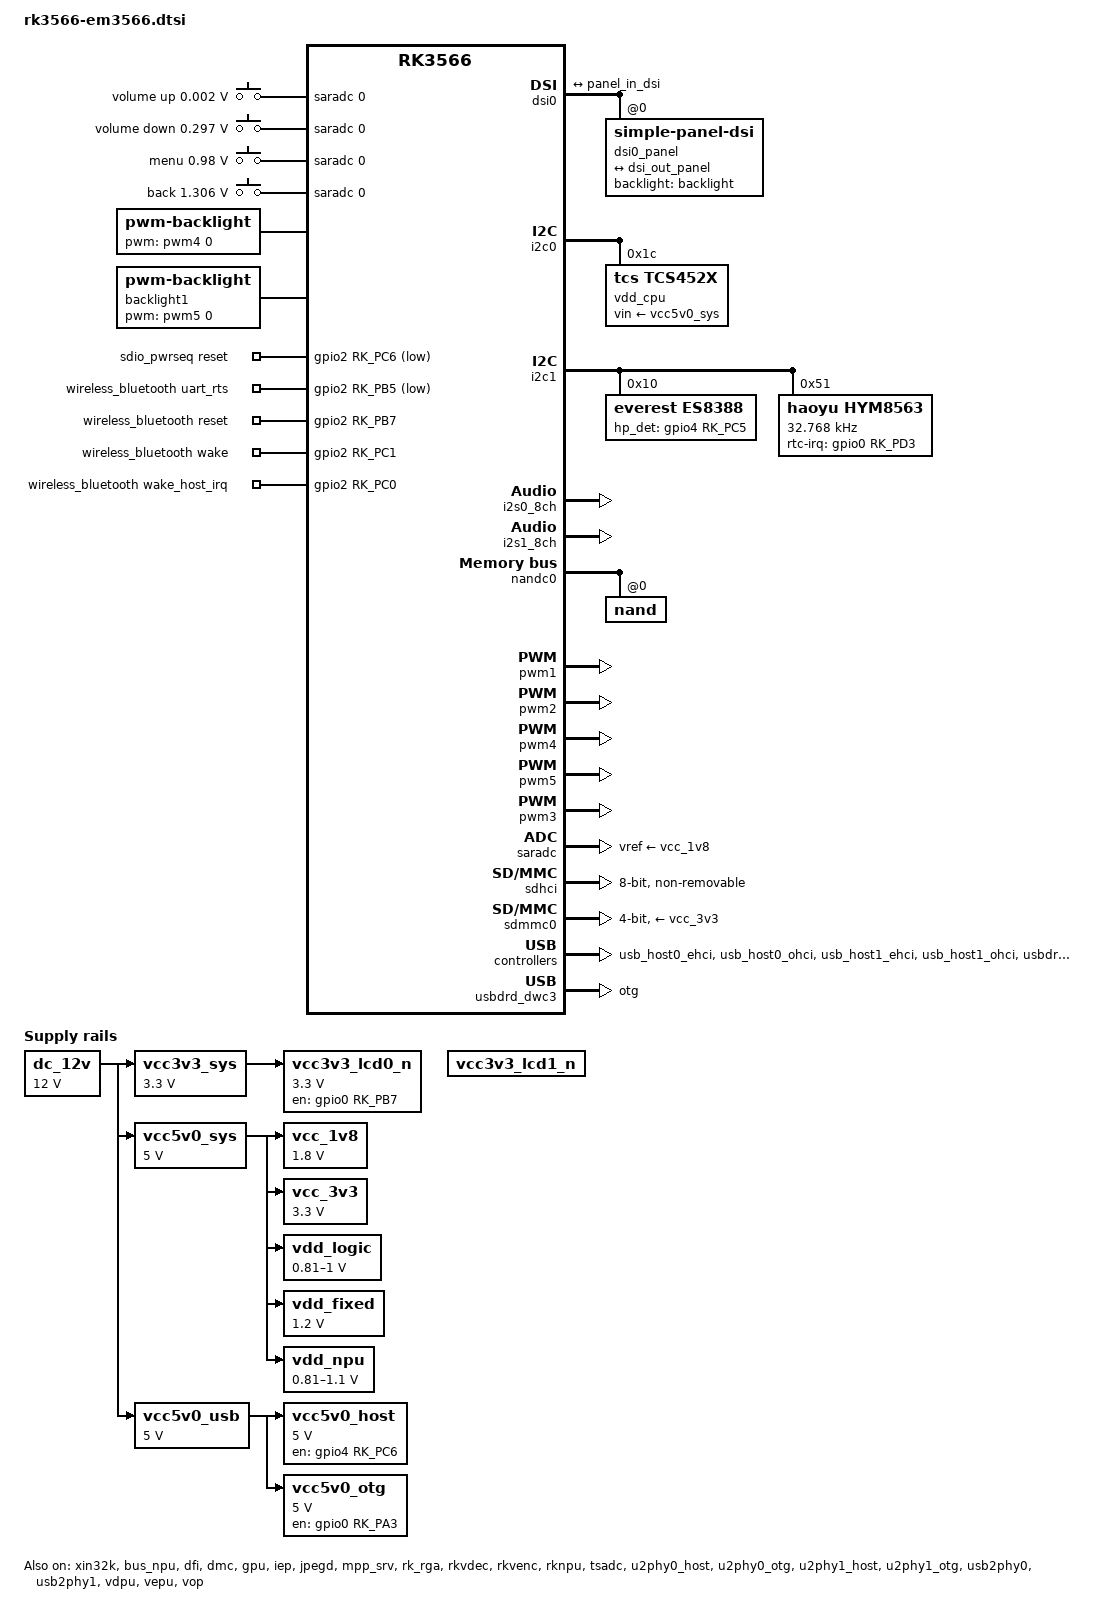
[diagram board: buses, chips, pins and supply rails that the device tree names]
// SPDX-License-Identifier: (GPL-2.0+ OR MIT)
/*
 * Copyright (c) 2020 Rockchip Electronics Co., Ltd.
 *
 */

#include <dt-bindings/gpio/gpio.h>
#include <dt-bindings/pwm/pwm.h>
#include <dt-bindings/pinctrl/rockchip.h>
#include <dt-bindings/input/rk-input.h>
#include <dt-bindings/display/drm_mipi_dsi.h>
#include <dt-bindings/sensor-dev.h>

/ {

	adc_keys: adc-keys {
		compatible = "adc-keys";
		io-channels = <&saradc 0>;
		io-channel-names = "buttons";
		keyup-threshold-microvolt = <1800000>;
		poll-interval = <100>;

		vol-up-key {
			label = "volume up";
			linux,code = <KEY_VOLUMEUP>;
			press-threshold-microvolt = <1750>;
		};

		vol-down-key {
			label = "volume down";
			linux,code = <KEY_VOLUMEDOWN>;
			press-threshold-microvolt = <297500>;
		};

		menu-key {
			label = "menu";
			linux,code = <KEY_MENU>;
			press-threshold-microvolt = <980000>;
		};

		back-key {
			label = "back";
			linux,code = <KEY_BACK>;
			press-threshold-microvolt = <1305500>;
		};
	};

	audiopwmout_diff: audiopwmout-diff {
		status = "disabled";
		compatible = "simple-audio-card";
		simple-audio-card,format = "i2s";
		simple-audio-card,name = "rockchip,audiopwmout-diff";
		simple-audio-card,mclk-fs = <256>;
		simple-audio-card,bitclock-master = <&master>;
		simple-audio-card,frame-master = <&master>;
		simple-audio-card,cpu {
			sound-dai = <&i2s3_2ch>;
		};
		master: simple-audio-card,codec {
			sound-dai = <&dig_acodec>;
		};
	};

	backlight: backlight {
		status = "okay";
		compatible = "pwm-backlight";
		pwms = <&pwm4 0 25000 0>;
		brightness-levels = <
			  0  20  20  21  21  22  22  23
			 23  24  24  25  25  26  26  27
			 27  28  28  29  29  30  30  31
			 31  32  32  33  33  34  34  35
			 35  36  36  37  37  38  38  39
			 40  41  42  43  44  45  46  47
			 48  49  50  51  52  53  54  55
			 56  57  58  59  60  61  62  63
			 64  65  66  67  68  69  70  71
			 72  73  74  75  76  77  78  79
			 80  81  82  83  84  85  86  87
			 88  89  90  91  92  93  94  95
			 96  97  98  99 100 101 102 103
			104 105 106 107 108 109 110 111
			112 113 114 115 116 117 118 119
			120 121 122 123 124 125 126 127
			128 129 130 131 132 133 134 135
			136 137 138 139 140 141 142 143
			144 145 146 147 148 149 150 151
			152 153 154 155 156 157 158 159
			160 161 162 163 164 165 166 167
			168 169 170 171 172 173 174 175
			176 177 178 179 180 181 182 183
			184 185 186 187 188 189 190 191
			192 193 194 195 196 197 198 199
			200 201 202 203 204 205 206 207
			208 209 210 211 212 213 214 215
			216 217 218 219 220 221 222 223
			224 225 226 227 228 229 230 231
			232 233 234 235 236 237 238 239
			240 241 242 243 244 245 246 247
			248 249 250 251 252 253 254 255
		>;
		default-brightness-level = <100>;	//<200>;
	};

	backlight1: backlight1 {
		compatible = "pwm-backlight";
		pwms = <&pwm5 0 25000 0>;
		brightness-levels = <
			  0  20  20  21  21  22  22  23
			 23  24  24  25  25  26  26  27
			 27  28  28  29  29  30  30  31
			 31  32  32  33  33  34  34  35
			 35  36  36  37  37  38  38  39
			 40  41  42  43  44  45  46  47
			 48  49  50  51  52  53  54  55
			 56  57  58  59  60  61  62  63
			 64  65  66  67  68  69  70  71
			 72  73  74  75  76  77  78  79
			 80  81  82  83  84  85  86  87
			 88  89  90  91  92  93  94  95
			 96  97  98  99 100 101 102 103
			104 105 106 107 108 109 110 111
			112 113 114 115 116 117 118 119
			120 121 122 123 124 125 126 127
			128 129 130 131 132 133 134 135
			136 137 138 139 140 141 142 143
			144 145 146 147 148 149 150 151
			152 153 154 155 156 157 158 159
			160 161 162 163 164 165 166 167
			168 169 170 171 172 173 174 175
			176 177 178 179 180 181 182 183
			184 185 186 187 188 189 190 191
			192 193 194 195 196 197 198 199
			200 201 202 203 204 205 206 207
			208 209 210 211 212 213 214 215
			216 217 218 219 220 221 222 223
			224 225 226 227 228 229 230 231
			232 233 234 235 236 237 238 239
			240 241 242 243 244 245 246 247
			248 249 250 251 252 253 254 255
		>;
		default-brightness-level = <200>;
	};

	dc_12v: dc-12v {
		compatible = "regulator-fixed";
		regulator-name = "dc_12v";
		regulator-always-on;
		regulator-boot-on;
		regulator-min-microvolt = <12000000>;
		regulator-max-microvolt = <12000000>;
	};

	hdmi_sound: hdmi-sound {
		compatible = "simple-audio-card";
		simple-audio-card,format = "i2s";
		simple-audio-card,mclk-fs = <128>;
		simple-audio-card,name = "rockchip,hdmi";
		status = "disabled";

		simple-audio-card,cpu {
				sound-dai = <&i2s0_8ch>;
		};
		simple-audio-card,codec {
				sound-dai = <&hdmi>;
		};
	};
	
	pdmics: dummy-codec {
		status = "disabled";
		compatible = "rockchip,dummy-codec";
		#sound-dai-cells = <0>;
	};

	pdm_mic_array: pdm-mic-array {
		status = "disabled";
		compatible = "simple-audio-card";
		simple-audio-card,name = "rockchip,pdm-mic-array";
		simple-audio-card,cpu {
			sound-dai = <&pdm>;
		};
		simple-audio-card,codec {
			sound-dai = <&pdmics>;
		};
	};
	
	es8388_sound: es8388-sound {
		status = "okay";
		compatible = "simple-audio-card";
		simple-audio-card,format = "i2s";
		simple-audio-card,name = "rockchip,es8388-codec";
		simple-audio-card,mclk-fs = <512>;

		simple-audio-card,cpu {
			sound-dai = <&i2s1_8ch>;
		};
		simple-audio-card,codec {
			sound-dai = <&es8388>;
		};					   
	};	

	spdif-sound {
		status = "disabled";	//"okay";
		compatible = "simple-audio-card";
		simple-audio-card,name = "ROCKCHIP,SPDIF";
		simple-audio-card,cpu {
				sound-dai = <&spdif_8ch>;
		};
		simple-audio-card,codec {
				sound-dai = <&spdif_out>;
		};
	};

	spdif_out: spdif-out {
			status = "disabled";	//"okay";
			compatible = "linux,spdif-dit";
			#sound-dai-cells = <0>;
	};

	vad_sound: vad-sound {
		status = "disabled";
		compatible = "rockchip,multicodecs-card";
		rockchip,card-name = "rockchip,rk3568-vad";
		rockchip,cpu = <&i2s1_8ch>;
		rockchip,codec = <&vad>;	//<&rk809_codec>, <&vad>;
	};

	vcc3v3_sys: vcc3v3-sys {
		compatible = "regulator-fixed";
		regulator-name = "vcc3v3_sys";
		regulator-always-on;
		regulator-boot-on;
		regulator-min-microvolt = <3300000>;
		regulator-max-microvolt = <3300000>;
		vin-supply = <&dc_12v>;
	};

	vcc5v0_sys: vcc5v0-sys {
		compatible = "regulator-fixed";
		regulator-name = "vcc5v0_sys";
		regulator-always-on;
		regulator-boot-on;
		regulator-min-microvolt = <5000000>;
		regulator-max-microvolt = <5000000>;
		vin-supply = <&dc_12v>;
	};

	vcc5v0_usb: vcc5v0-usb {
		compatible = "regulator-fixed";
		regulator-name = "vcc5v0_usb";
		regulator-always-on;
		regulator-boot-on;
		regulator-min-microvolt = <5000000>;
		regulator-max-microvolt = <5000000>;
		vin-supply = <&dc_12v>;
	};

	vcc5v0_host: vcc5v0-host-regulator {
		compatible = "regulator-fixed";
		regulator-name = "vcc5v0_host";
		regulator-boot-on;
		regulator-always-on;
		regulator-min-microvolt = <5000000>;
		regulator-max-microvolt = <5000000>;
		enable-active-high;
		gpio = <&gpio4 RK_PC6 GPIO_ACTIVE_HIGH>;	
		vin-supply = <&vcc5v0_usb>;
		pinctrl-names = "default";
		pinctrl-0 = <&vcc5v0_host_en>;
	};	

	vcc5v0_otg: vcc5v0-otg-regulator {
		compatible = "regulator-fixed";
		regulator-name = "vcc5v0_otg";
		regulator-min-microvolt = <5000000>;
		regulator-max-microvolt = <5000000>;
		enable-active-high;
		gpio = <&gpio0 RK_PA3 GPIO_ACTIVE_HIGH>;
		vin-supply = <&vcc5v0_usb>;
		pinctrl-names = "default";
		pinctrl-0 = <&vcc5v0_otg_en>;
	};
	vcc_1v8: vcc_1v8 {
		compatible = "regulator-fixed";
		regulator-name = "vcc_1v8";
		regulator-always-on;
		regulator-boot-on;
		regulator-min-microvolt = <1800000>;
		regulator-max-microvolt = <1800000>;
		vin-supply = <&vcc5v0_sys>;
	};

	vcc_3v3: vcc_3v3{
		compatible = "regulator-fixed";
		regulator-name = "vcc_3v3";
		regulator-always-on;
		regulator-boot-on;
		regulator-min-microvolt = <3300000>;
		regulator-max-microvolt = <3300000>;
		vin-supply = <&vcc5v0_sys>;
	};	
	
	vdd_logic: vdd-logic {
		compatible = "pwm-regulator";
		pwms = <&pwm1 0 5000 1>; 
		regulator-name = "vdd_logic";
		regulator-min-microvolt = <810000>;		
		regulator-max-microvolt = <1000000>;	
		regulator-init-microvolt = <1000000>;
		regulator-always-on;
		regulator-boot-on;
		regulator-settling-time-up-us = <250>;
		pwm-supply = <&vcc5v0_sys>;			
		status = "okay";
	};
	
	vdd_fixed: vdd-fixed { 
		compatible = "regulator-fixed";
		regulator-name = "vdd_fixed";
		regulator-min-microvolt = <1200000>;
		regulator-max-microvolt = <1200000>;			
		regulator-always-on;
		regulator-boot-on;
		vin-supply = <&vcc5v0_sys>;
	};	
	
	vdd_npu: vdd-npu {
		compatible = "pwm-regulator";
		pwms = <&pwm2 0 5000 1>;
		regulator-name = "vdd_npu";
		regulator-min-microvolt = <810000>;		
		regulator-max-microvolt = <1100000>;	
		regulator-init-microvolt = <1000000>;
		regulator-always-on;
		regulator-boot-on;	
		regulator-settling-time-up-us = <250>;
		pwm-supply = <&vcc5v0_sys>;
		status = "okay";
	};		
	vcc3v3_lcd0_n: vcc3v3-lcd0-n {
		compatible = "regulator-fixed";
		regulator-name = "vcc3v3_lcd0_n";
		regulator-boot-on;
		regulator-always-on;
		regulator-min-microvolt = <3300000>;
		regulator-max-microvolt = <3300000>;
		enable-active-high;
		gpio = <&gpio0 RK_PB7 GPIO_ACTIVE_HIGH>;
		vin-supply = <&vcc3v3_sys>;
		//regulator-state-mem {
		//	regulator-off-in-suspend;
		//};
	};

	vcc3v3_lcd1_n: vcc3v3-lcd1-n {
		compatible = "regulator-fixed";
		regulator-name = "vcc3v3_lcd1_n";
		regulator-boot-on;
		regulator-state-mem {
			regulator-off-in-suspend;
		};
	};

	sdio_pwrseq: sdio-pwrseq {
		compatible = "mmc-pwrseq-simple";
		pinctrl-names = "default";
		pinctrl-0 = <&wifi_enable_h>;

		/*
		 * On the module itself this is one of these (depending
		 * on the actual card populated):
		 * - SDIO_RESET_L_WL_REG_ON
		 * - PDN (power down when low)
		 */
		post-power-on-delay-ms = <200>;
		reset-gpios = <&gpio2 RK_PC6 GPIO_ACTIVE_LOW>;
	};

	wireless_wlan: wireless-wlan {
		compatible = "wlan-platdata";
		rockchip,grf = <&grf>;
		wifi_chip_type = "rtl8723ds";	//"rtl8723bs";	//"rtl8821cs";	//"ap6398s";
		status = "okay";
	};

	wireless_bluetooth: wireless-bluetooth {
		compatible = "bluetooth-platdata";
		clocks = <&pmucru CLK_RTC_32K>;
		clock-names = "ext_clock";		
		//clocks = <&rk809 1>;
		//clock-names = "ext_clock";
		//wifi-bt-power-toggle;
		uart_rts_gpios = <&gpio2 RK_PB5 GPIO_ACTIVE_LOW>;
		pinctrl-names = "default", "rts_gpio";
		pinctrl-0 = <&uart1m0_rtsn &bt_host_wake_gpio &bt_poweren &bt_host_wake_irq>;
		pinctrl-1 = <&uart1_rts_gpio>;
		BT,reset_gpio    = <&gpio2 RK_PB7 GPIO_ACTIVE_HIGH>;
		BT,wake_gpio     = <&gpio2 RK_PC1 GPIO_ACTIVE_HIGH>;
		BT,wake_host_irq = <&gpio2 RK_PC0 GPIO_ACTIVE_HIGH>;
		status = "okay";
	};

	test-power {
		status = "okay";
	};
};

&xin32k {
	pinctrl-names = "default";
	pinctrl-0 = <&clk32k_out0>;
	status = "okay";
};

&bus_npu {
	bus-supply = <&vdd_logic>;
	pvtm-supply = <&vdd_cpu>;
	status = "okay";
};

&can0 {
	assigned-clocks = <&cru CLK_CAN0>;
	assigned-clock-rates = <150000000>;
	pinctrl-names = "default";
	pinctrl-0 = <&can0m1_pins>;
	status = "disabled";
};

&can1 {
	assigned-clocks = <&cru CLK_CAN1>;
	assigned-clock-rates = <150000000>;
	pinctrl-names = "default";
	pinctrl-0 = <&can1m1_pins>;
	status = "disabled";
};

&can2 {
	assigned-clocks = <&cru CLK_CAN2>;
	assigned-clock-rates = <150000000>;
	pinctrl-names = "default";
	pinctrl-0 = <&can2m1_pins>;
	status = "disabled";
};

&cpu0 {
	cpu-supply = <&vdd_cpu>;
};

&dfi {
	status = "okay";
};

&dmc {
	center-supply = <&vdd_logic>;
	status = "okay";
};

&gpu {
	mali-supply = <&vdd_fixed>;	
	status = "okay";
};

&dsi0 {
	status = "okay";
	//rockchip,lane-rate = <1000>;
	dsi0_panel: panel@0 {
		status = "okay";
		compatible = "simple-panel-dsi";
		reg = <0>;
		backlight = <&backlight>;
		
		//enable-delay-ms = <40>;
		reset-delay-ms = <1000>;
		prepare-delay-ms = <15>;
		unprepare-delay-ms = <100>;
		//disable-delay-ms = <120>;
		init-delay-ms = <20>;
		width-mm = <136>;
		height-mm = <216>;				
		dsi,flags = <(MIPI_DSI_MODE_VIDEO | MIPI_DSI_MODE_VIDEO_BURST | MIPI_DSI_MODE_LPM | MIPI_DSI_MODE_EOT_PACKET)>;
		dsi,format = <MIPI_DSI_FMT_RGB888>;
		dsi,lanes  = <4>;
///*		
		//PX101H27810188B
		panel-init-sequence = [
			//Page0
			15 00 02 E0 00

			//--- PASSWORD  ----//
			15 00 02 E1 93
			15 00 02 E2 65
			15 00 02 E3 F8
			15 00 02 80 03
			
			//--- Sequence Ctrl  ----//
			15 00 02 70 10
			15 00 02 71 13
			15 00 02 72 06
			15 00 02 75 03
			//--- Page4  ----//
			15 00 02 E0 04
			15 00 02 2D 03
			
			//--- Page1  ----//
			15 00 02 E0 01
			
			//--- BIST MODE  ----//
		//	15 00 02 4A 35
			
			//Set VCOM
			15 00 02 00 00
			15 00 02 01 5A
			//Set VCOM_Reverse
			15 00 02 03 00
			15 00 02 04 58
			//Set Gamma Power
			15 00 02 17 00
			15 00 02 18 EF
			15 00 02 19 01
			15 00 02 1A 00
			15 00 02 1B EF
			15 00 02 1C 01
			
			//Set Gate Power
			15 00 02 1F 7A
			15 00 02 20 24
			15 00 02 21 24
			15 00 02 22 4E
		//	15 00 02 24 F8
		//	15 00 02 26 D3
			//SetPanel
			15 00 02 37 59
			15 00 02 35 2C
			//SET RGBCYC
			15 00 02 38 05
			15 00 02 39 08
			15 00 02 3A 10
			15 00 02 3C 88
			15 00 02 3D FF
			15 00 02 3E FF
			15 00 02 3F 7F
			//Set TCON
			15 00 02 40 06
			15 00 02 41 A0
			15 00 02 43 14
			15 00 02 44 0F
			15 00 02 45 24
		//	15 00 02 4A 80
			//--- power voltage  ----//
			15 00 02 55 01 
			15 00 02 56 01 
			15 00 02 57 89
			15 00 02 58 0A
			15 00 02 59 0A    //VCL = -2.5V
			15 00 02 5A 39    //VGH = 18.4V  2D_VGH = 16V 
			15 00 02 5B 10   //VGL = -10.2V
			15 00 02 5C 16
			//--- Gamma  ----//
			15 00 02 5D 7A
			15 00 02 5E 65
			15 00 02 5F 56
			15 00 02 60 49
			15 00 02 61 43
			15 00 02 62 33
			15 00 02 63 35
			15 00 02 64 1C
			15 00 02 65 33
			15 00 02 66 30
			15 00 02 67 2E
			15 00 02 68 4A
			15 00 02 69 36
			
			15 00 02 6A 3D
			15 00 02 6B 2F
			15 00 02 6C 2D
			15 00 02 6D 23
			15 00 02 6E 15
			15 00 02 6F 04
			15 00 02 70 7A
			15 00 02 71 65
			15 00 02 72 56
			15 00 02 73 49
			15 00 02 74 43
			15 00 02 75 33
			15 00 02 76 35
			15 00 02 77 1C
			15 00 02 78 33
			15 00 02 79 30
			15 00 02 7A 2E
			15 00 02 7B 4A
			15 00 02 7C 36
			15 00 02 7D 3D
			15 00 02 7E 2F
			15 00 02 7F 2D
			15 00 02 80 23
			15 00 02 81 15
			15 00 02 82 04


			//Page2, for GIP
			15 00 02 E0 02

			//GIP_L Pin mapping
			15 00 02 00 1E
			15 00 02 01 1F
			15 00 02 02 57
			15 00 02 03 58
			15 00 02 04 48
			15 00 02 05 4A
			15 00 02 06 44
			15 00 02 07 46
			15 00 02 08 40
			15 00 02 09 1F
			15 00 02 0A 1F
			15 00 02 0B 1F
			15 00 02 0C 1F
			15 00 02 0D 1F
			15 00 02 0E 1F
			15 00 02 0F 42
			15 00 02 10 1F
			15 00 02 11 1F
			15 00 02 12 1F
			15 00 02 13 1F
			15 00 02 14 1F
			15 00 02 15 1F

			//GIP_R Pin mapping
			15 00 02 16 1E
			15 00 02 17 1F
			15 00 02 18 57
			15 00 02 19 58
			15 00 02 1A 49
			15 00 02 1B 4B
			15 00 02 1C 45
			15 00 02 1D 47
			15 00 02 1E 41
			15 00 02 1F 1F
			15 00 02 20 1F
			15 00 02 21 1F
			15 00 02 22 1F
			15 00 02 23 1F
			15 00 02 24 1F
			15 00 02 25 43
			15 00 02 26 1F
			15 00 02 27 1F
			15 00 02 28 1F
			15 00 02 29 1F
			15 00 02 2A 1F
			15 00 02 2B 1F
			                      
			//GIP_L_GS Pin mapping
			15 00 02 2C 1F
			15 00 02 2D 1E   
			15 00 02 2E 17 
			15 00 02 2F 18 
			15 00 02 30 07 
			15 00 02 31 05 
			15 00 02 32 0B 
			15 00 02 33 09 
			15 00 02 34 03 
			15 00 02 35 1F 
			15 00 02 36 1F 
			15 00 02 37 1F 
			15 00 02 38 1F 
			15 00 02 39 1F 
			15 00 02 3A 1F 
			15 00 02 3B 01 
			15 00 02 3C 1F 
			15 00 02 3D 1F 
			15 00 02 3E 1F 
			15 00 02 3F 1F 
			15 00 02 40 1F 
			15 00 02 41 1F
			 
			//GIP_R_GS Pin mapping
			15 00 02 42 1F
			15 00 02 43 1E   
			15 00 02 44 17 
			15 00 02 45 18 
			15 00 02 46 06 
			15 00 02 47 04 
			15 00 02 48 0A 
			15 00 02 49 08 
			15 00 02 4A 02 
			15 00 02 4B 1F 
			15 00 02 4C 1F 
			15 00 02 4D 1F 
			15 00 02 4E 1F 
			15 00 02 4F 1F 
			15 00 02 50 1F 
			15 00 02 51 00 
			15 00 02 52 1F 
			15 00 02 53 1F 
			15 00 02 54 1F 
			15 00 02 55 1F 
			15 00 02 56 1F 
			15 00 02 57 1F  

			//GIP Timing  
			15 00 02 58 40 
			15 00 02 59 00 
			15 00 02 5A 00 
			15 00 02 5B 30 
			15 00 02 5C 05 
			15 00 02 5D 30 
			15 00 02 5E 01 
			15 00 02 5F 02 
			15 00 02 60 30 
			15 00 02 61 03 
			15 00 02 62 04 
			15 00 02 63 6A 
			15 00 02 64 6A 
			15 00 02 65 75 
			15 00 02 66 0D 
			15 00 02 67 73 
			15 00 02 68 09 
			15 00 02 69 6A 
			15 00 02 6A 6A 
			15 00 02 6B 08 
			15 00 02 6C 00 
			15 00 02 6D 04 
			15 00 02 6E 00 
			15 00 02 6F 88 
			15 00 02 70 00 
			15 00 02 71 00 
			15 00 02 72 06 
			15 00 02 73 7B 
			15 00 02 74 00 
			15 00 02 75 BC 
			15 00 02 76 00 
			15 00 02 77 0D 
			15 00 02 78 23 
			15 00 02 79 00 
			15 00 02 7A 00 
			15 00 02 7B 00 
			15 00 02 7C 00 
			15 00 02 7D 03 
			15 00 02 7E 7B 

			//Page4
			15 00 02 E0 04
			15 00 02 2B 2B
			15 00 02 2E 44

			//Page0
			15 00 02 E0 00
			15 00 02 E6 02
			15 00 02 E7 02

			05 78 01 11
			05 05 01 29
		//	15 00 02 35 00

			];		
//*/			
 /*
		//K101-IM2BYC05A-L
		panel-init-sequence = [
			39 00 03 E0 AB BA 
			39 00 03 E1 BA AB 
			39 00 05 B1 10 01 47 FF   //10屏蔽BIST,11开启BIST
			39 00 07 B2 06 06 04 50 50 14 
			39 00 04 B3 56 53 00 
			39 00 04 B4 33 30 04    //GS,SS,RGB
			39 00 08 B6 B0 00 00 10 00 10 00 
			39 00 08 B8 05 12 29 49 48 00 00 
			//gamma 255  251  247  243  235  227  211  191  159  128  096  064  044  028  020  012  008  004  000  255  251  
			//39 00 04 B9 7C 56 4B 44 36 29 29 11 2B 28 29 49 3A 42 34 36 2C 1A 06 7C 46 2E 1F 21 13 1C 08 25 26 2C 51 46 52 46 4B 43 34 06   //颜色淡，gamma2.2
			39 00 27 B9 7C 52 3B 2F 2B 2B 20 0A 26 27 29 4B 3D 4c 3C 39 2C 1A 06 7C 42 2B 1a 16 18 13 01 20 25 29 4f 45 58 4C 39 2C 1A 06  //颜色OK，gamma2.5
			39 00 11 C0 66 43 12 34 22 22 24 44 90 04 90 04 0F 00 00 C1 
			39 00 0b C1 31 54 02 83 90 04 90 04 54 80 
			39 00 0d C2 13 09 08 89 08 11 22 20 44 BB 18 00 
			39 00 17 C3 80 40 00 06 07 00 01 01 05 02 02 02 02 02 02 00 00 0E 0F 0C 0D 02 //正扫
			39 00 17 C4 00 00 00 06 07 00 01 01 05 02 02 02 02 02 02 00 00 0E 0F 0C 0D 02 //正扫
			//39 00 04 C3 80 40 00 06 07 01 00 01 05 02 02 02 02 02 02 00 00 0E 0F 0C 0D 02 //反扫
			//39 00 04 C4 00 00 00 06 07 01 00 01 05 02 02 02 02 02 02 00 00 0E 0F 0C 0D 02 //反扫
			39 00 04 C5 E8 85 76   //ID,默认值E8 85 76
			39 00 03 C6 00 00   //VCOM
			39 00 07 C8 10 00 31 42 34 16 
			39 00 03 CA CB 43 
			39 00 05 CC 2E 02 04 08 
			39 00 09 CD 0E 20 64 00 0A 6B 06 B3 
			39 00 05 D2 E3 2B 38 00   //D2第一个值E3=4LANE,E2=3LANE,
			39 00 0c D4 00 01 00 0E 04 44 08 10 00 00 00 
			39 00 09 E6 00 01 FF FF FF FF FF FF 
			39 00 06 F0 12 03 20 00 FF 
			15 00 02 F3 00 

			15 96 02 11 00   
			15 64 02 29 00 
 		];	
 */
 		
	//	panel-exit-sequence = [
	//		05 00 01 28
	//		05 00 01 10
	//	];


		disp_timings0: display-timings {
			native-mode = <&dsi0_timing0>;
			dsi0_timing0: timing0 {
			
/*			//for 7 inch mipi lcd
				clock-frequency = <51200000>;
				hactive = <1024>;
				vactive = <600>;
				hback-porch = <140>;
				hfront-porch = <180>;	
				vback-porch = <20>;
				vfront-porch = <12>;
				hsync-len = <1>;
				vsync-len = <3>;
				hsync-active = <1>;
				vsync-active = <1>;
				de-active = <0>;
				pixelclk-active = <0>;					
*/	

			
		//for 10.1 inch mipi lcd	
				clock-frequency = <76800000>;
				hactive = <800>;
				vactive = <1280>;
				hfront-porch = <80>;
				hback-porch = <80>;
				hsync-len = <20>;
				vfront-porch = <20>;
				vback-porch = <12>;
				vsync-len = <4>;
				hsync-active = <1>;
				vsync-active = <1>;
				de-active = <0>;
				pixelclk-active = <0>;	
								
			};
		};

		ports {
			#address-cells = <1>;
			#size-cells = <0>;

			port@0 {
				reg = <0>;
				panel_in_dsi: endpoint {
					remote-endpoint = <&dsi_out_panel>;
				};
			};
		};
	};

	ports {
		#address-cells = <1>;
		#size-cells = <0>;

		port@1 {
			reg = <1>;
			dsi_out_panel: endpoint {
				remote-endpoint = <&panel_in_dsi>;
			};
		};
	};

};


&dsi1 {
	status = "disabled";
	//rockchip,lane-rate = <1000>;
	dsi1_panel: panel@0 {
		status = "okay";
		compatible = "simple-panel-dsi";
		reg = <0>;
		backlight = <&backlight1>;
		reset-delay-ms = <60>;
		enable-delay-ms = <60>;
		prepare-delay-ms = <60>;
		unprepare-delay-ms = <60>;
		disable-delay-ms = <60>;
		dsi,flags = <(MIPI_DSI_MODE_VIDEO | MIPI_DSI_MODE_VIDEO_BURST |
			MIPI_DSI_MODE_LPM | MIPI_DSI_MODE_EOT_PACKET)>;
		dsi,format = <MIPI_DSI_FMT_RGB888>;
		dsi,lanes  = <4>;
		panel-init-sequence = [
			23 00 02 FE 21
			23 00 02 04 00
			23 00 02 00 64
			23 00 02 2A 00
			23 00 02 26 64
			23 00 02 54 00
			23 00 02 50 64
			23 00 02 7B 00
			23 00 02 77 64
			23 00 02 A2 00
			23 00 02 9D 64
			23 00 02 C9 00
			23 00 02 C5 64
			23 00 02 01 71
			23 00 02 27 71
			23 00 02 51 71
			23 00 02 78 71
			23 00 02 9E 71
			23 00 02 C6 71
			23 00 02 02 89
			23 00 02 28 89
			23 00 02 52 89
			23 00 02 79 89
			23 00 02 9F 89
			23 00 02 C7 89
			23 00 02 03 9E
			23 00 02 29 9E
			23 00 02 53 9E
			23 00 02 7A 9E
			23 00 02 A0 9E
			23 00 02 C8 9E
			23 00 02 09 00
			23 00 02 05 B0
			23 00 02 31 00
			23 00 02 2B B0
			23 00 02 5A 00
			23 00 02 55 B0
			23 00 02 80 00
			23 00 02 7C B0
			23 00 02 A7 00
			23 00 02 A3 B0
			23 00 02 CE 00
			23 00 02 CA B0
			23 00 02 06 C0
			23 00 02 2D C0
			23 00 02 56 C0
			23 00 02 7D C0
			23 00 02 A4 C0
			23 00 02 CB C0
			23 00 02 07 CF
			23 00 02 2F CF
			23 00 02 58 CF
			23 00 02 7E CF
			23 00 02 A5 CF
			23 00 02 CC CF
			23 00 02 08 DD
			23 00 02 30 DD
			23 00 02 59 DD
			23 00 02 7F DD
			23 00 02 A6 DD
			23 00 02 CD DD
			23 00 02 0E 15
			23 00 02 0A E9
			23 00 02 36 15
			23 00 02 32 E9
			23 00 02 5F 15
			23 00 02 5B E9
			23 00 02 85 15
			23 00 02 81 E9
			23 00 02 AD 15
			23 00 02 A9 E9
			23 00 02 D3 15
			23 00 02 CF E9
			23 00 02 0B 14
			23 00 02 33 14
			23 00 02 5C 14
			23 00 02 82 14
			23 00 02 AA 14
			23 00 02 D0 14
			23 00 02 0C 36
			23 00 02 34 36
			23 00 02 5D 36
			23 00 02 83 36
			23 00 02 AB 36
			23 00 02 D1 36
			23 00 02 0D 6B
			23 00 02 35 6B
			23 00 02 5E 6B
			23 00 02 84 6B
			23 00 02 AC 6B
			23 00 02 D2 6B
			23 00 02 13 5A
			23 00 02 0F 94
			23 00 02 3B 5A
			23 00 02 37 94
			23 00 02 64 5A
			23 00 02 60 94
			23 00 02 8A 5A
			23 00 02 86 94
			23 00 02 B2 5A
			23 00 02 AE 94
			23 00 02 D8 5A
			23 00 02 D4 94
			23 00 02 10 D1
			23 00 02 38 D1
			23 00 02 61 D1
			23 00 02 87 D1
			23 00 02 AF D1
			23 00 02 D5 D1
			23 00 02 11 04
			23 00 02 39 04
			23 00 02 62 04
			23 00 02 88 04
			23 00 02 B0 04
			23 00 02 D6 04
			23 00 02 12 05
			23 00 02 3A 05
			23 00 02 63 05
			23 00 02 89 05
			23 00 02 B1 05
			23 00 02 D7 05
			23 00 02 18 AA
			23 00 02 14 36
			23 00 02 42 AA
			23 00 02 3D 36
			23 00 02 69 AA
			23 00 02 65 36
			23 00 02 8F AA
			23 00 02 8B 36
			23 00 02 B7 AA
			23 00 02 B3 36
			23 00 02 DD AA
			23 00 02 D9 36
			23 00 02 15 74
			23 00 02 3F 74
			23 00 02 66 74
			23 00 02 8C 74
			23 00 02 B4 74
			23 00 02 DA 74
			23 00 02 16 9F
			23 00 02 40 9F
			23 00 02 67 9F
			23 00 02 8D 9F
			23 00 02 B5 9F
			23 00 02 DB 9F
			23 00 02 17 DC
			23 00 02 41 DC
			23 00 02 68 DC
			23 00 02 8E DC
			23 00 02 B6 DC
			23 00 02 DC DC
			23 00 02 1D FF
			23 00 02 19 03
			23 00 02 47 FF
			23 00 02 43 03
			23 00 02 6E FF
			23 00 02 6A 03
			23 00 02 94 FF
			23 00 02 90 03
			23 00 02 BC FF
			23 00 02 B8 03
			23 00 02 E2 FF
			23 00 02 DE 03
			23 00 02 1A 35
			23 00 02 44 35
			23 00 02 6B 35
			23 00 02 91 35
			23 00 02 B9 35
			23 00 02 DF 35
			23 00 02 1B 45
			23 00 02 45 45
			23 00 02 6C 45
			23 00 02 92 45
			23 00 02 BA 45
			23 00 02 E0 45
			23 00 02 1C 55
			23 00 02 46 55
			23 00 02 6D 55
			23 00 02 93 55
			23 00 02 BB 55
			23 00 02 E1 55
			23 00 02 22 FF
			23 00 02 1E 68
			23 00 02 4C FF
			23 00 02 48 68
			23 00 02 73 FF
			23 00 02 6F 68
			23 00 02 99 FF
			23 00 02 95 68
			23 00 02 C1 FF
			23 00 02 BD 68
			23 00 02 E7 FF
			23 00 02 E3 68
			23 00 02 1F 7E
			23 00 02 49 7E
			23 00 02 70 7E
			23 00 02 96 7E
			23 00 02 BE 7E
			23 00 02 E4 7E
			23 00 02 20 97
			23 00 02 4A 97
			23 00 02 71 97
			23 00 02 97 97
			23 00 02 BF 97
			23 00 02 E5 97
			23 00 02 21 B5
			23 00 02 4B B5
			23 00 02 72 B5
			23 00 02 98 B5
			23 00 02 C0 B5
			23 00 02 E6 B5
			23 00 02 25 F0
			23 00 02 23 E8
			23 00 02 4F F0
			23 00 02 4D E8
			23 00 02 76 F0
			23 00 02 74 E8
			23 00 02 9C F0
			23 00 02 9A E8
			23 00 02 C4 F0
			23 00 02 C2 E8
			23 00 02 EA F0
			23 00 02 E8 E8
			23 00 02 24 FF
			23 00 02 4E FF
			23 00 02 75 FF
			23 00 02 9B FF
			23 00 02 C3 FF
			23 00 02 E9 FF
			23 00 02 FE 3D
			23 00 02 00 04
			23 00 02 FE 23
			23 00 02 08 82
			23 00 02 0A 00
			23 00 02 0B 00
			23 00 02 0C 01
			23 00 02 16 00
			23 00 02 18 02
			23 00 02 1B 04
			23 00 02 19 04
			23 00 02 1C 81
			23 00 02 1F 00
			23 00 02 20 03
			23 00 02 23 04
			23 00 02 21 01
			23 00 02 54 63
			23 00 02 55 54
			23 00 02 6E 45
			23 00 02 6D 36
			23 00 02 FE 3D
			23 00 02 55 78
			23 00 02 FE 20
			23 00 02 26 30
			23 00 02 FE 3D
			23 00 02 20 71
			23 00 02 50 8F
			23 00 02 51 8F
			23 00 02 FE 00
			23 00 02 35 00
			05 78 01 11
			05 1E 01 29
		];

		panel-exit-sequence = [
			05 00 01 28
			05 00 01 10
		];

		disp_timings1: display-timings {
			native-mode = <&dsi1_timing0>;
			dsi1_timing0: timing0 {
				clock-frequency = <132000000>;
				hactive = <1080>;
				vactive = <1920>;
				hfront-porch = <15>;
				hsync-len = <2>;
				hback-porch = <30>;
				vfront-porch = <15>;
				vsync-len = <2>;
				vback-porch = <15>;
				hsync-active = <0>;
				vsync-active = <0>;
				de-active = <0>;
				pixelclk-active = <1>;
			};
		};

		ports {
			#address-cells = <1>;
			#size-cells = <0>;

			port@0 {
				reg = <0>;
				panel_in_dsi1: endpoint {
					remote-endpoint = <&dsi1_out_panel>;
				};
			};
		};
	};

	ports {
		#address-cells = <1>;
		#size-cells = <0>;

		port@1 {
			reg = <1>;
			dsi1_out_panel: endpoint {
				remote-endpoint = <&panel_in_dsi1>;
			};
		};
	};

};

&i2c0 {
	status = "okay";

	vdd_cpu: tcs4525@1c {
		compatible = "tcs,tcs452x";
		reg = <0x1c>;
		vin-supply = <&vcc5v0_sys>;
		regulator-compatible = "fan53555-reg";
		regulator-name = "vdd_cpu";
		regulator-min-microvolt = <1100000>;	//<712500>;
		regulator-max-microvolt = <1390000>;
		//regulator-init-microvolt = <900000>;
		regulator-initial-mode = <1>;
		regulator-ramp-delay = <2300>;
		fcs,suspend-voltage-selector = <1>;
		regulator-boot-on;
		regulator-always-on;
		regulator-state-mem {
			regulator-off-in-suspend;
		};
	};
	
	
};

&i2c1 {
	status = "okay";

	es8388: es8388@10 {
		status = "okay";	
		#sound-dai-cells = <0>;		
		compatible = "everest,es8388", "everest,es8328";
		reg = <0x10>;
		clocks = <&cru I2S1_MCLKOUT>;
		clock-names = "mclk";
		assigned-clocks = <&cru I2S1_MCLKOUT>, <&cru I2S1_MCLK_TX_IOE>;
		assigned-clock-rates = <12288000>;
		assigned-clock-parents = <&cru I2S1_MCLKOUT_TX>, <&cru I2S1_MCLKOUT_TX>;
		pinctrl-names = "default";
		pinctrl-0 = <&i2s1m0_mclk>;	
		hp_det = <&gpio4 RK_PC5 GPIO_ACTIVE_HIGH>;				  //det pin								
	};

	hym8563: hym8563@51 {
		status = "okay";
		compatible = "haoyu,hym8563";
		reg = <0x51>;
		#clock-cells = <0>;
		rtc-irq-gpio = <&gpio0 RK_PD3 IRQ_TYPE_EDGE_FALLING>;
		clock-frequency = <32768>;
		//clock-output-names = "xin32k";
		/* rtc_int is not connected */
	};	
			
};

&i2s0_8ch {
	status = "okay";
};

&i2s1_8ch {
	status = "okay";
	rockchip,clk-trcm = <1>;
	pinctrl-names = "default";
	pinctrl-0 = <&i2s1m0_sclktx
		     &i2s1m0_lrcktx
		     &i2s1m0_sdi0
		     &i2s1m0_sdo0>;
};

&iep {
	status = "okay";
};

&iep_mmu {
	status = "okay";
};

&jpegd {
	status = "okay";
};

&jpegd_mmu {
	status = "okay";
};

&mpp_srv {
	status = "okay";
};

&nandc0 {
	#address-cells = <1>;
	#size-cells = <0>;
	status = "okay";

	nand@0 {
		reg = <0>;
		nand-bus-width = <8>;
		nand-ecc-mode = "hw";
		nand-ecc-strength = <16>;
		nand-ecc-step-size = <1024>;
	};
};

&pinctrl {
	touch {
		touch_gpio: touch-gpio {
			rockchip,pins =
				<0 RK_PC5 RK_FUNC_GPIO &pcfg_pull_up>,
				<0 RK_PC6 RK_FUNC_GPIO &pcfg_pull_none>;
		};
	};

	sdio-pwrseq {
		wifi_enable_h: wifi-enable-h {
			rockchip,pins = <2 RK_PC6 RK_FUNC_GPIO &pcfg_pull_none>;	//<3 RK_PD5 RK_FUNC_GPIO &pcfg_pull_none>;
		};
	};

	ov13850-csi {
		csi_pins: csi-pins {
			rockchip,pins =
				<4 RK_PB0 RK_FUNC_GPIO &pcfg_pull_up>,
				<4 RK_PB5 RK_FUNC_GPIO &pcfg_pull_up>;
		};
	};

	usb {
		vcc5v0_host_en: vcc5v0-host-en {
			rockchip,pins = <0 RK_PA3 RK_FUNC_GPIO &pcfg_pull_none>;	//<0 RK_PA6 RK_FUNC_GPIO &pcfg_pull_none>;
		};

		vcc5v0_otg_en: vcc5v0-otg-en {
			rockchip,pins = <0 RK_PA6 RK_FUNC_GPIO &pcfg_pull_none>;	//<0 RK_PA5 RK_FUNC_GPIO &pcfg_pull_none>;
		};
	};

	wireless-bluetooth {
    uart1_rts_gpio: uart1-rts-gpio {
        rockchip,pins = <2  RK_PB5 RK_FUNC_GPIO &pcfg_pull_none>;
    };
        	
    bt_host_wake_irq: bt-host-wake-irq {
        rockchip,pins = <2 RK_PC1 RK_FUNC_GPIO &pcfg_pull_down>;
    };
    bt_host_wake_gpio: bt-host-wake-gpio {
        rockchip,pins = <2 RK_PC0 RK_FUNC_GPIO &pcfg_pull_down>;
    };
    bt_poweren: bt-poweren {
        rockchip,pins = <2 RK_PB7 RK_FUNC_GPIO &pcfg_pull_down>;
    };		
	};
};

 /*
  * There are 10 independent IO domains in RK3566/RK3568, including PMUIO[0:2] and VCCIO[1:7].
  * 1/ PMUIO0 and PMUIO1 are fixed-level power domains which cannot be configured;
  * 2/ PMUIO2 and VCCIO1,VCCIO[3:7] domains require that their hardware power supply voltages
  *    must be consistent with the software configuration correspondingly
  *	a/ When the hardware IO level is connected to 1.8V, the software voltage configuration
  *	   should also be configured to 1.8V accordingly;
  *	b/ When the hardware IO level is connected to 3.3V, the software voltage configuration
  *	   should also be configured to 3.3V accordingly;
  * 3/ VCCIO2 voltage control selection (0xFDC20140)
  *	BIT[0]: 0x0: from GPIO_0A7 (default)
  *	BIT[0]: 0x1: from GRF
  *    Default is determined by Pin FLASH_VOL_SEL/GPIO0_A7:
  *	L:VCCIO2 must supply 3.3V
  *	H:VCCIO2 must supply 1.8V
  */
&pmu_io_domains {
	status = "okay";
	pmuio1-supply = <&vcc_3v3>;	//<&vcc3v3_pmu>;	
	pmuio2-supply = <&vcc_3v3>;	//<&vcc3v3_pmu>;
	vccio1-supply = <&vcc_3v3>;	//<&vccio_acodec>;
	vccio3-supply = <&vcc_3v3>;	//<&vccio_sd>;
	vccio4-supply = <&vcc_1v8>;
	vccio5-supply = <&vcc_3v3>;
	vccio6-supply = <&vcc_1v8>;
	vccio7-supply = <&vcc_3v3>;
};

&pwm1 {
	status = "okay";
	pinctrl-names = "active";	
};

&pwm2 {
	status = "okay";
	pinctrl-names = "active";	
};

&pwm4 {
	status = "okay";
};

&pwm5 {
	status = "okay";
};

&pwm3 {
	status = "okay";

	compatible = "rockchip,remotectl-pwm";
	remote_pwm_id = <3>;
	handle_cpu_id = <1>;
	remote_support_psci = <0>;
	pinctrl-names = "default";
	pinctrl-0 = <&pwm3_pins>;

	ir_key1 {
		rockchip,usercode = <0x4040>;
		rockchip,key_table =
			<0xf2	KEY_REPLY>,
			<0xba	KEY_BACK>,
			<0xf4	KEY_UP>,
			<0xf1	KEY_DOWN>,
			<0xef	KEY_LEFT>,
			<0xee	KEY_RIGHT>,
			<0xbd	KEY_HOME>,
			<0xea	KEY_VOLUMEUP>,
			<0xe3	KEY_VOLUMEDOWN>,
			<0xe2	KEY_SEARCH>,
			<0xb2	KEY_POWER>,
			<0xbc	KEY_MUTE>,
			<0xec	KEY_MENU>,
			<0xbf	0x190>,
			<0xe0	0x191>,
			<0xe1	0x192>,
			<0xe9	183>,
			<0xe6	248>,
			<0xe8	185>,
			<0xe7	186>,
			<0xf0	388>,
			<0xbe	0x175>;
	};

	ir_key2 {
		rockchip,usercode = <0xff00>;
		rockchip,key_table =
			<0xf9	KEY_HOME>,
			<0xbf	KEY_BACK>,
			<0xfb	KEY_MENU>,
			<0xaa	KEY_REPLY>,
			<0xb9	KEY_UP>,
			<0xe9	KEY_DOWN>,
			<0xb8	KEY_LEFT>,
			<0xea	KEY_RIGHT>,
			<0xeb	KEY_VOLUMEDOWN>,
			<0xef	KEY_VOLUMEUP>,
			<0xf7	KEY_MUTE>,
			<0xe7	KEY_POWER>,
			<0xfc	KEY_POWER>,
			<0xa9	KEY_VOLUMEDOWN>,
			<0xa8	KEY_VOLUMEDOWN>,
			<0xe0	KEY_VOLUMEDOWN>,
			<0xa5	KEY_VOLUMEDOWN>,
			<0xab	183>,
			<0xb7	388>,
			<0xe8	388>,
			<0xf8	184>,
			<0xaf	185>,
			<0xed	KEY_VOLUMEDOWN>,
			<0xee	186>,
			<0xb3	KEY_VOLUMEDOWN>,
			<0xf1	KEY_VOLUMEDOWN>,
			<0xf2	KEY_VOLUMEDOWN>,
			<0xf3	KEY_SEARCH>,
			<0xb4	KEY_VOLUMEDOWN>,
			<0xbe	KEY_SEARCH>;
	};

	ir_key3 {
		rockchip,usercode = <0x1dcc>;
		rockchip,key_table =
			<0xee	KEY_REPLY>,
			<0xf0	KEY_BACK>,
			<0xf8	KEY_UP>,
			<0xbb	KEY_DOWN>,
			<0xef	KEY_LEFT>,
			<0xed	KEY_RIGHT>,
			<0xfc	KEY_HOME>,
			<0xf1	KEY_VOLUMEUP>,
			<0xfd	KEY_VOLUMEDOWN>,
			<0xb7	KEY_SEARCH>,
			<0xff	KEY_POWER>,
			<0xf3	KEY_MUTE>,
			<0xbf	KEY_MENU>,
			<0xf9	0x191>,
			<0xf5	0x192>,
			<0xb3	388>,
			<0xbe	KEY_1>,
			<0xba	KEY_2>,
			<0xb2	KEY_3>,
			<0xbd	KEY_4>,
			<0xf9	KEY_5>,
			<0xb1	KEY_6>,
			<0xfc	KEY_7>,
			<0xf8	KEY_8>,
			<0xb0	KEY_9>,
			<0xb6	KEY_0>,
			<0xb5	KEY_BACKSPACE>;
	};
};

&rk_rga {
	status = "okay";
};

&rkvdec {
	status = "okay";
};

&rkvdec_mmu {
	status = "okay";
};

&rkvenc {
	venc-supply = <&vdd_logic>;
	status = "okay";
};

&rkvenc_mmu {
	status = "okay";
};

&rknpu {
	rknpu-supply = <&vdd_npu>;
	status = "okay";
};

&rknpu_mmu {
	status = "okay";
};

&saradc {
	status = "okay";
	vref-supply = <&vcc_1v8>;	//<&vcca_1v8>;
};

&sdhci {
	bus-width = <8>;
	no-sdio;
	no-sd;
	non-removable;
	max-frequency = <200000000>;
	status = "okay";
};

//for tf card
&sdmmc0 {
	max-frequency = <150000000>;
	no-sdio;
	no-mmc;
	bus-width = <4>;
	cap-mmc-highspeed;
	cap-sd-highspeed;
	disable-wp;
	sd-uhs-sdr104;
	vmmc-supply = <&vcc_3v3>;	//<&vcc3v3_sd>;
	vqmmc-supply = <&vcc_3v3>;	//<&vccio_sd>;
	pinctrl-names = "default";
	pinctrl-0 = <&sdmmc0_bus4 &sdmmc0_clk &sdmmc0_cmd &sdmmc0_det>;
	status = "okay";
};

&sfc {
	status = "disabled";	//"okay";

	flash@0 {
		compatible = "spi-nand";
		reg = <0>;
		spi-max-frequency = <75000000>;
		spi-rx-bus-width = <4>;
		spi-tx-bus-width = <1>;
	};
};

&spdif_8ch {
	status = "disabled";	//"okay";
};

&tsadc {
	status = "okay";
};

&spi0 {
	status = "disabled";	//"okay";
	max-freq = <48000000>; /* spi internal clk, don't modify */
	pinctrl-names = "default", "high_speed";
	pinctrl-0 = <&spi0m0_cs0 &spi0m0_pins>;	
	
	spi_dev@0 {
		compatible = "rockchip,spidev";
		reg = <0>;
		spi-max-frequency = <12000000>;
		spi-lsb-first;
	};
};

&u2phy0_host {
	phy-supply = <&vcc5v0_host>;
	status = "okay";
};

&u2phy0_otg {
	vbus-supply = <&vcc5v0_otg>;
	status = "okay";
};

&u2phy1_host {
	phy-supply = <&vcc5v0_host>;
	status = "okay";
};

&u2phy1_otg {
	phy-supply = <&vcc5v0_host>;
	status = "okay";
};

&usb2phy0 {
	status = "okay";
};

&usb2phy1 {
	status = "okay";
};

&usb_host0_ehci {
	status = "okay";
};

&usb_host0_ohci {
	status = "okay";
};

&usb_host1_ehci {
	status = "okay";
};

&usb_host1_ohci {
	status = "okay";
};

&usbdrd_dwc3 {
	dr_mode = "otg";
	extcon = <&usb2phy0>;
	status = "okay";
};

&usbdrd30 {
	status = "okay";
};

&usbhost_dwc3 {
	status = "okay";
};

&usbhost30 {
	status = "okay";
};

&vad {
	rockchip,audio-src = <&i2s1_8ch>;
	rockchip,buffer-time-ms = <128>;
	rockchip,det-channel = <0>;
	rockchip,mode = <0>;
};

&vdpu {
	status = "okay";
};

&vdpu_mmu {
	status = "okay";
};

&vepu {
	status = "okay";
};

&vepu_mmu {
	status = "okay";
};

&vop {
	status = "okay";
	assigned-clocks = <&cru DCLK_VOP0>, <&cru DCLK_VOP1>;
	assigned-clock-parents = <&pmucru PLL_HPLL>, <&cru PLL_VPLL>;
};

&vop_mmu {
	status = "okay";
};
